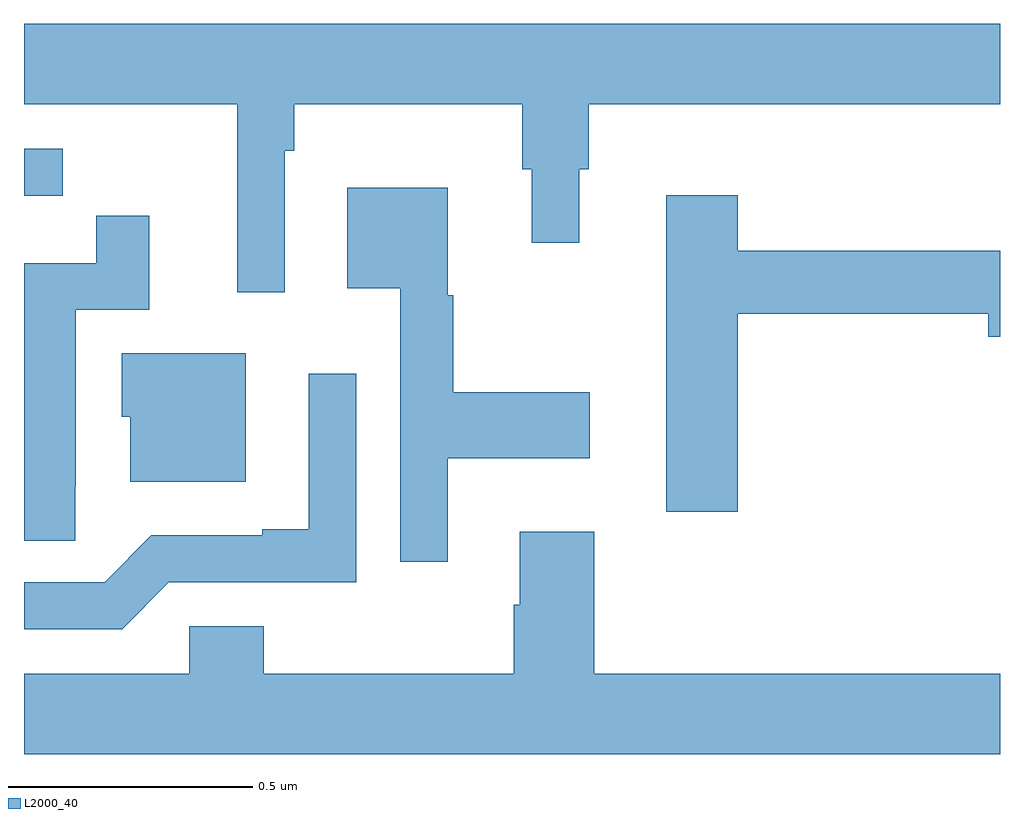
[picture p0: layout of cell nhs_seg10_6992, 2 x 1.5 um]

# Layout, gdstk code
import gdstk
lib = gdstk.Library(unit=1e-6, precision=1e-09)
def R(c, l, rs):  # rectangles x0, y0, x1, y1
    for r in rs: c.add(gdstk.rectangle(r[:2], r[2:], *l))
def P(c, l, *ps):  # polygons
    for p in ps: c.add(gdstk.Polygon(p, *l))
L2000_40 = (2000, 40)

nhs_seg10_6992 = lib.new_cell('nhs_seg10_6992')
R(nhs_seg10_6992, L2000_40, [(198,1298.796,198.079,1298.892)])
P(nhs_seg10_6992, L2000_40, [(198.534,1298.888),(198.554,1298.888),(198.554,1298.984),(199.021,1298.984),(199.021,1298.85),(199.04,1298.85),(199.04,1298.7),(199.138,1298.7),(199.138,1298.85),(199.157,1298.85),(199.157,1298.984),(200,1298.984),(200,1299.148),(198,1299.148),(198,1298.984),(198.437,1298.984),(198.437,1298.598),(198.534,1298.598)],
  [(198.868,1298.258),(199.159,1298.258),(199.159,1298.393),(198.88,1298.393),(198.88,1298.592),(198.868,1298.592),(198.868,1298.812),(198.662,1298.812),(198.662,1298.606),(198.771,1298.606),(198.771,1298.046),(198.868,1298.046)],
  [(199.463,1298.554),(199.976,1298.554),(199.976,1298.507),(200,1298.507),(200,1298.683),(199.463,1298.683),(199.463,1298.797),(199.316,1298.797),(199.316,1298.148),(199.463,1298.148)],
  [(198.105,1298.2),(198.106,1298.2),(198.106,1298.562),(198.257,1298.562),(198.257,1298.755),(198.148,1298.755),(198.148,1298.658),(198,1298.658),(198,1298.089),(198.105,1298.089)],
  [(198.454,1298.473),(198.2,1298.473),(198.2,1298.343),(198.218,1298.343),(198.218,1298.21),(198.454,1298.21)],
  [(198.297,1298.004),(198.681,1298.004),(198.681,1298.431),(198.584,1298.431),(198.584,1298.113),(198.488,1298.113),(198.488,1298.1),(198.261,1298.1),(198.165,1298.004),(198,1298.004),(198,1297.908),(198.201,1297.908)],
  [(200,1297.816),(199.169,1297.816),(199.169,1298.107),(199.016,1298.107),(199.016,1297.958),(199.004,1297.958),(199.004,1297.816),(198.491,1297.816),(198.491,1297.914),(198.339,1297.914),(198.339,1297.816),(198,1297.816),(198,1297.652),(200,1297.652)])

lib.write_gds('nhs_seg10_6992.gds')
